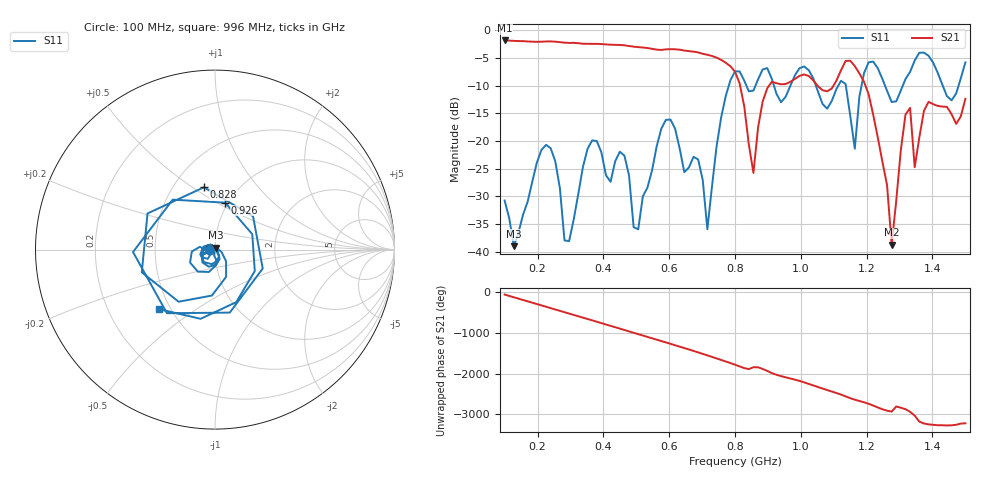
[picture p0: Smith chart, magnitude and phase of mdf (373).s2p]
! NanoVNA-App
! Date: 2025-09-25 15:41:19
! Start: 100MHz Stop: 1,5GHz Points: 101
! S-Parameter data: F S11 S21 S12 S22
# Hz S RI R 50
!  Frequency  S11_Real  S11_Imag  S21_Real  S21_Imag  S12_Real  S12_Imag  S22_Real  S22_Imag
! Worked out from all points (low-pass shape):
!   101 points, 100 MHz to 1.5 GHz, reference 50 ohm
!   highest |S21| = -1.80 dB at 100 MHz (marker M1); lowest = -38.7 dB at 1.276 GHz (marker M2)
!   |S21| within 3 dB of the highest: start of sweep to 739.4 MHz
!   lowest |S11| = -39.0 dB at 128 MHz (marker M3), VSWR 1.02, Z = 50.3 + j1.07 ohm
!   |S11| at or under -10 dB: start of sweep to 781.1 MHz; 918.4 MHz to 968.1 MHz (49.67 MHz wide, 5.27 % of centre); 1.046 GHz to 1.114 GHz (67.78 MHz wide, 6.28 % of centre) (the widest 3 of 7)
!   S12 and S22 are empty: the file has one direction only
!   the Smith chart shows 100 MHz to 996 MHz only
!   S11 on the Smith chart (normalised r, x): 100 MHz: 0.94, -0.01; 828 MHz: 0.70, +0.56; 926 MHz: 0.97, +0.55; 996 MHz: 0.43, -0.36
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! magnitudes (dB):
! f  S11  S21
! 100 MHz  -30.7  -1.8
! 128 MHz  -39.0  -1.9
! 212 MHz  -21.6  -2.0
! 282 MHz  -38.0  -2.2
! 338 MHz  -24.7  -2.4
! 464 MHz  -22.6  -2.7
! 506 MHz  -36.0  -3.0
! 576 MHz  -17.8  -3.5
! 688 MHz  -23.3  -4.0
! 716 MHz  -35.9  -4.4
! 800 MHz  -7.4  -7.4
! 828 MHz  -9.1  -13.7
! 856 MHz  -10.9  -25.8
! 926 MHz  -11.5  -9.5
! 996 MHz  -6.8  -8.2
! 1.038 GHz  -8.7  -9.0
! 1.164 GHz  -21.4  -6.4
! 1.192 GHz  -7.7  -9.3
! 1.276 GHz  -12.9  -38.7
! 1.318 GHz  -8.8  -15.2
! 1.346 GHz  -5.4  -24.7
! 1.5 GHz  -5.8  -12.4
